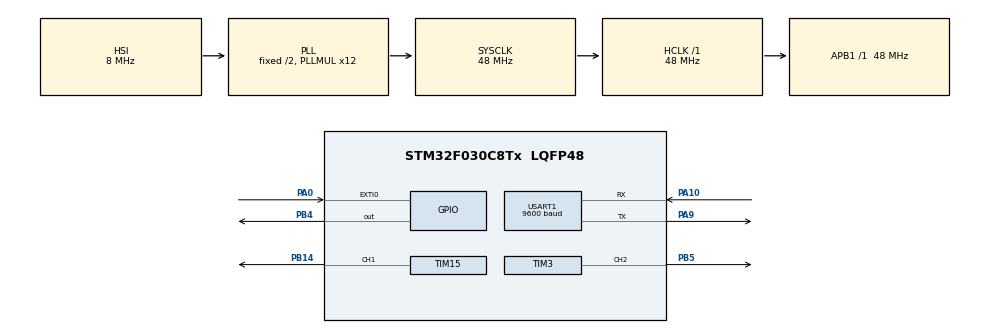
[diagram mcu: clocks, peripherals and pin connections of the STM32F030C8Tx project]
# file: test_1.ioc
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Mcu.Family=STM32F0
Mcu.Name=STM32F030C8Tx
Mcu.Package=LQFP48
NVIC.EXTI0_1_IRQn=true\:0\:0\:false\:false\:true\:true\:true\:true
PA0.GPIO_ModeDefaultEXTI=GPIO_MODE_IT_FALLING
PA0.GPIO_PuPd=GPIO_PULLUP
PA0.Signal=GPXTI0
PA10.Mode=Asynchronous
PA10.Signal=USART1_RX
PA9.Mode=Asynchronous
PA9.Signal=USART1_TX
PB14.Signal=S_TIM15_CH1
PB4.GPIO_ModeDefaultOutputPP=GPIO_MODE_OUTPUT_OD
PB4.GPIO_PuPd=GPIO_NOPULL
PB4.PinState=GPIO_PIN_SET
PB4.Signal=GPIO_Output
PB5.Signal=S_TIM3_CH2
ProjectManager.HeapSize=0x200
ProjectManager.StackSize=0x400
ProjectManager.TargetToolchain=STM32CubeIDE
RCC.AHBFreq_Value=48000000
RCC.APB1Freq_Value=48000000
RCC.APB1TimFreq_Value=48000000
RCC.HCLKFreq_Value=48000000
RCC.PLLMUL=RCC_PLL_MUL12
RCC.SYSCLKFreq_VALUE=48000000
RCC.SYSCLKSource=RCC_SYSCLKSOURCE_PLLCLK
SH.S_TIM15_CH1.0=TIM15_CH1,PWM Generation1 CH1
SH.S_TIM3_CH2.0=TIM3_CH2,PWM Generation2 CH2
TIM15.Channel-PWM\ Generation1\ CH1=TIM_CHANNEL_1
TIM15.Period=99
TIM15.Prescaler=47
TIM15.Pulse-PWM\ Generation1\ CH1=76
TIM3.Channel-PWM\ Generation2\ CH2=TIM_CHANNEL_2
TIM3.Period=99
TIM3.Prescaler=47
TIM3.Pulse-PWM\ Generation2\ CH2=90
TIM6.Prescaler=47
USART1.BaudRate=9600
USART1.VirtualMode-Asynchronous=VM_ASYNC
VP_TIM6_VS_ClockSourceINT.Mode=Enable_Timer
board=custom

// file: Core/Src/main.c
/* USER CODE BEGIN Header */
/**
  ******************************************************************************
  * @file           : main.c
  * @brief          : Main program body
  ******************************************************************************
  */
/* USER CODE END Header */
#include "main.h"

/* USER CODE BEGIN Includes */
#include <stdio.h>
#include <string.h>
/* USER CODE END Includes */

/* USER CODE BEGIN PD */
#define DS18B20_Pin GPIO_PIN_4
#define DS18B20_GPIO_Port GPIOB

#define DS_PORT DS18B20_GPIO_Port
#define DS_PIN  DS18B20_Pin
/* USER CODE END PD */

TIM_HandleTypeDef htim3;
TIM_HandleTypeDef htim6;
TIM_HandleTypeDef htim15;

UART_HandleTypeDef huart1;

/* USER CODE BEGIN PV */
volatile uint8_t system_laeuft = 1;     /* 1 = Motoren an, 0 = Motoren aus */
volatile uint8_t marker_senden = 0;     /* 1 = STOP senden, 2 = START senden */
volatile uint32_t last_interrupt_time = 0;
/* USER CODE END PV */

void SystemClock_Config(void);
static void MX_GPIO_Init(void);
static void MX_TIM3_Init(void);
static void MX_TIM6_Init(void);
static void MX_USART1_UART_Init(void);
static void MX_TIM15_Init(void);

/* USER CODE BEGIN 0 */
void Delay_us(uint16_t us) {
    __HAL_TIM_SET_COUNTER(&htim6, 0);
    while ((uint16_t)__HAL_TIM_GET_COUNTER(&htim6) < us);
}

uint8_t DS18B20_Start(void) {
    uint8_t Response = 0;
    HAL_GPIO_WritePin(DS_PORT, DS_PIN, GPIO_PIN_RESET);
    Delay_us(480);
    HAL_GPIO_WritePin(DS_PORT, DS_PIN, GPIO_PIN_SET);
    Delay_us(80);
    if (!(HAL_GPIO_ReadPin(DS_PORT, DS_PIN))) Response = 1;
    else Response = 0;
    Delay_us(400);
    return Response;
}

void DS18B20_Write(uint8_t data) {
    for (int i=0; i<8; i++) {
        if ((data & (1<<i)) != 0) {
            HAL_GPIO_WritePin(DS_PORT, DS_PIN, GPIO_PIN_RESET);
            Delay_us(1);
            HAL_GPIO_WritePin(DS_PORT, DS_PIN, GPIO_PIN_SET);
            Delay_us(60);
        } else {
            HAL_GPIO_WritePin(DS_PORT, DS_PIN, GPIO_PIN_RESET);
            Delay_us(60);
            HAL_GPIO_WritePin(DS_PORT, DS_PIN, GPIO_PIN_SET);
            Delay_us(1);
        }
    }
}

uint8_t DS18B20_Read(void) {
    uint8_t value = 0;
    for (int i=0; i<8; i++) {
        HAL_GPIO_WritePin(DS_PORT, DS_PIN, GPIO_PIN_RESET);
        Delay_us(2);
        HAL_GPIO_WritePin(DS_PORT, DS_PIN, GPIO_PIN_SET);
        Delay_us(12);
        if (HAL_GPIO_ReadPin(DS_PORT, DS_PIN)) {
            value |= (1<<i);
        }
        Delay_us(50);
    }
    return value;
}
/* USER CODE END 0 */

int main(void)
{

  /* MCU Configuration--------------------------------------------------------*/

  /* Reset of all peripherals, Initializes the Flash interface and the Systick. */
  HAL_Init();

  /* Configure the system clock */
  SystemClock_Config();

  /* Initialize all configured peripherals */
  MX_GPIO_Init();
  MX_TIM3_Init();
  MX_TIM6_Init();
  MX_USART1_UART_Init();
  MX_TIM15_Init();
  /* USER CODE BEGIN 2 */

  /* Start-Nachricht senden */
  char *start_msg = "\r\n--- System gestartet ---\r\n";
  HAL_UART_Transmit(&huart1, (uint8_t*)start_msg, strlen(start_msg), HAL_MAX_DELAY);

  /* Timer und PWM Motoren starten */
  HAL_TIM_Base_Start(&htim6);
  HAL_TIM_PWM_Start(&htim3, TIM_CHANNEL_2);
  HAL_TIM_PWM_Start(&htim15, TIM_CHANNEL_1);

  /* USER CODE END 2 */

  /* Infinite loop */
  /* USER CODE BEGIN WHILE */
  while (1)
  {
      /* === PYTHON MARKER PRÜFEN === */
      if (marker_senden == 1) {
          char *marker = "MARKER: STOP\r\n";
          HAL_UART_Transmit(&huart1, (uint8_t*)marker, strlen(marker), HAL_MAX_DELAY);
          marker_senden = 0;
      } else if (marker_senden == 2) {
          char *marker = "MARKER: START\r\n";
          HAL_UART_Transmit(&huart1, (uint8_t*)marker, strlen(marker), HAL_MAX_DELAY);
          marker_senden = 0;
      }

      /* === TEMPERATUR MESSEN === */
      uint8_t presence = DS18B20_Start();
      HAL_Delay(1);

      if (presence) {
          DS18B20_Write(0xCC);
          DS18B20_Write(0x44);
          HAL_Delay(800);

          presence = DS18B20_Start();
          HAL_Delay(1);
          DS18B20_Write(0xCC);
          DS18B20_Write(0xBE);

          uint8_t temp_LSB = DS18B20_Read();
          uint8_t temp_MSB = DS18B20_Read();

          uint16_t temp = (temp_MSB << 8) | temp_LSB;
          int8_t sign = 1;
          if (temp > 2047) {
             temp = (~temp) + 1;
             sign = -1;
          }

          int temp_int = temp / 16;
          int temp_frac = (temp % 16) * 625;

          char buffer[60];
          if (sign < 0) {
             sprintf(buffer, "Bier-Temperatur: -%d.%04d C\r\n", temp_int, temp_frac);
          } else {
             sprintf(buffer, "Bier-Temperatur: %d.%04d C\r\n", temp_int, temp_frac);
          }

          HAL_UART_Transmit(&huart1, (uint8_t*)buffer, strlen(buffer), HAL_MAX_DELAY);
      } else {
          char *err = "Fehler: Kein Sensor gefunden!\r\n";
          HAL_UART_Transmit(&huart1, (uint8_t*)err, strlen(err), HAL_MAX_DELAY);
      }

      HAL_Delay(2000);
    /* USER CODE END WHILE */

  }
}

void SystemClock_Config(void)
{
  RCC_OscInitTypeDef RCC_OscInitStruct = {0};
  RCC_ClkInitTypeDef RCC_ClkInitStruct = {0};
  RCC_PeriphCLKInitTypeDef PeriphClkInit = {0};

  /** Initializes the RCC Oscillators according to the specified parameters
  * in the RCC_OscInitTypeDef structure.
  */
  RCC_OscInitStruct.OscillatorType = RCC_OSCILLATORTYPE_HSI;
  RCC_OscInitStruct.HSIState = RCC_HSI_ON;
  RCC_OscInitStruct.HSICalibrationValue = RCC_HSICALIBRATION_DEFAULT;
  RCC_OscInitStruct.PLL.PLLState = RCC_PLL_ON;
  RCC_OscInitStruct.PLL.PLLSource = RCC_PLLSOURCE_HSI;
  RCC_OscInitStruct.PLL.PLLMUL = RCC_PLL_MUL12;
  RCC_OscInitStruct.PLL.PREDIV = RCC_PREDIV_DIV1;
  if (HAL_RCC_OscConfig(&RCC_OscInitStruct) != HAL_OK)
  {
    Error_Handler();
  }

  /** Initializes the CPU, AHB and APB buses clocks
  */
  RCC_ClkInitStruct.ClockType = RCC_CLOCKTYPE_HCLK|RCC_CLOCKTYPE_SYSCLK
                              |RCC_CLOCKTYPE_PCLK1;
  RCC_ClkInitStruct.SYSCLKSource = RCC_SYSCLKSOURCE_PLLCLK;
  RCC_ClkInitStruct.AHBCLKDivider = RCC_SYSCLK_DIV1;
  RCC_ClkInitStruct.APB1CLKDivider = RCC_HCLK_DIV1;

  if (HAL_RCC_ClockConfig(&RCC_ClkInitStruct, FLASH_LATENCY_1) != HAL_OK)
  {
    Error_Handler();
  }
  PeriphClkInit.PeriphClockSelection = RCC_PERIPHCLK_USART1;
  PeriphClkInit.Usart1ClockSelection = RCC_USART1CLKSOURCE_PCLK1;
  if (HAL_RCCEx_PeriphCLKConfig(&PeriphClkInit) != HAL_OK)
  {
    Error_Handler();
  }
}

static void MX_TIM3_Init(void)
{

  TIM_MasterConfigTypeDef sMasterConfig = {0};
  TIM_OC_InitTypeDef sConfigOC = {0};

  htim3.Instance = TIM3;
  htim3.Init.Prescaler = 47;
  htim3.Init.CounterMode = TIM_COUNTERMODE_UP;
  htim3.Init.Period = 99;
  htim3.Init.ClockDivision = TIM_CLOCKDIVISION_DIV1;
  htim3.Init.AutoReloadPreload = TIM_AUTORELOAD_PRELOAD_DISABLE;
  if (HAL_TIM_PWM_Init(&htim3) != HAL_OK)
  {
    Error_Handler();
  }
  sMasterConfig.MasterOutputTrigger = TIM_TRGO_RESET;
  sMasterConfig.MasterSlaveMode = TIM_MASTERSLAVEMODE_DISABLE;
  if (HAL_TIMEx_MasterConfigSynchronization(&htim3, &sMasterConfig) != HAL_OK)
  {
    Error_Handler();
  }
  sConfigOC.OCMode = TIM_OCMODE_PWM1;
  sConfigOC.Pulse = 90;
  sConfigOC.OCPolarity = TIM_OCPOLARITY_HIGH;
  sConfigOC.OCFastMode = TIM_OCFAST_DISABLE;
  if (HAL_TIM_PWM_ConfigChannel(&htim3, &sConfigOC, TIM_CHANNEL_2) != HAL_OK)
  {
    Error_Handler();
  }
  HAL_TIM_MspPostInit(&htim3);

}

static void MX_TIM6_Init(void)
{

  htim6.Instance = TIM6;
  htim6.Init.Prescaler = 47;
  htim6.Init.CounterMode = TIM_COUNTERMODE_UP;
  htim6.Init.Period = 65535;
  htim6.Init.AutoReloadPreload = TIM_AUTORELOAD_PRELOAD_DISABLE;
  if (HAL_TIM_Base_Init(&htim6) != HAL_OK)
  {
    Error_Handler();
  }

}

static void MX_TIM15_Init(void)
{

  TIM_MasterConfigTypeDef sMasterConfig = {0};
  TIM_OC_InitTypeDef sConfigOC = {0};
  TIM_BreakDeadTimeConfigTypeDef sBreakDeadTimeConfig = {0};

  htim15.Instance = TIM15;
  htim15.Init.Prescaler = 47;
  htim15.Init.CounterMode = TIM_COUNTERMODE_UP;
  htim15.Init.Period = 99;
  htim15.Init.ClockDivision = TIM_CLOCKDIVISION_DIV1;
  htim15.Init.RepetitionCounter = 0;
  htim15.Init.AutoReloadPreload = TIM_AUTORELOAD_PRELOAD_DISABLE;
  if (HAL_TIM_PWM_Init(&htim15) != HAL_OK)
  {
    Error_Handler();
  }
  sMasterConfig.MasterOutputTrigger = TIM_TRGO_RESET;
  sMasterConfig.MasterSlaveMode = TIM_MASTERSLAVEMODE_DISABLE;
  if (HAL_TIMEx_MasterConfigSynchronization(&htim15, &sMasterConfig) != HAL_OK)
  {
    Error_Handler();
  }
  sConfigOC.OCMode = TIM_OCMODE_PWM1;
  sConfigOC.Pulse = 76;
  sConfigOC.OCPolarity = TIM_OCPOLARITY_HIGH;
  sConfigOC.OCNPolarity = TIM_OCNPOLARITY_HIGH;
  sConfigOC.OCFastMode = TIM_OCFAST_DISABLE;
  sConfigOC.OCIdleState = TIM_OCIDLESTATE_RESET;
  sConfigOC.OCNIdleState = TIM_OCNIDLESTATE_RESET;
  if (HAL_TIM_PWM_ConfigChannel(&htim15, &sConfigOC, TIM_CHANNEL_1) != HAL_OK)
  {
    Error_Handler();
  }
  sBreakDeadTimeConfig.OffStateRunMode = TIM_OSSR_DISABLE;
  sBreakDeadTimeConfig.OffStateIDLEMode = TIM_OSSI_DISABLE;
  sBreakDeadTimeConfig.LockLevel = TIM_LOCKLEVEL_OFF;
  sBreakDeadTimeConfig.DeadTime = 0;
  sBreakDeadTimeConfig.BreakState = TIM_BREAK_DISABLE;
  sBreakDeadTimeConfig.BreakPolarity = TIM_BREAKPOLARITY_HIGH;
  sBreakDeadTimeConfig.AutomaticOutput = TIM_AUTOMATICOUTPUT_DISABLE;
  if (HAL_TIMEx_ConfigBreakDeadTime(&htim15, &sBreakDeadTimeConfig) != HAL_OK)
  {
    Error_Handler();
  }
  HAL_TIM_MspPostInit(&htim15);

}

static void MX_USART1_UART_Init(void)
{

  huart1.Instance = USART1;
  huart1.Init.BaudRate = 9600;
  huart1.Init.WordLength = UART_WORDLENGTH_8B;
  huart1.Init.StopBits = UART_STOPBITS_1;
  huart1.Init.Parity = UART_PARITY_NONE;
  huart1.Init.Mode = UART_MODE_TX_RX;
  huart1.Init.HwFlowCtl = UART_HWCONTROL_NONE;
  huart1.Init.OverSampling = UART_OVERSAMPLING_16;
  huart1.Init.OneBitSampling = UART_ONE_BIT_SAMPLE_DISABLE;
  huart1.AdvancedInit.AdvFeatureInit = UART_ADVFEATURE_NO_INIT;
  if (HAL_UART_Init(&huart1) != HAL_OK)
  {
    Error_Handler();
  }

}

static void MX_GPIO_Init(void)
{
  GPIO_InitTypeDef GPIO_InitStruct = {0};

  /* GPIO Ports Clock Enable */
  __HAL_RCC_GPIOA_CLK_ENABLE();
  __HAL_RCC_GPIOB_CLK_ENABLE();

  /*Configure GPIO pin Output Level */
  HAL_GPIO_WritePin(GPIOB, GPIO_PIN_4, GPIO_PIN_SET);

  /*Configure GPIO pin : PA0 */
  GPIO_InitStruct.Pin = GPIO_PIN_0;
  GPIO_InitStruct.Mode = GPIO_MODE_IT_FALLING;
  GPIO_InitStruct.Pull = GPIO_PULLUP;
  HAL_GPIO_Init(GPIOA, &GPIO_InitStruct);

  /*Configure GPIO pin : PB4 */
  GPIO_InitStruct.Pin = GPIO_PIN_4;
  GPIO_InitStruct.Mode = GPIO_MODE_OUTPUT_OD;
  GPIO_InitStruct.Pull = GPIO_NOPULL;
  GPIO_InitStruct.Speed = GPIO_SPEED_FREQ_LOW;
  HAL_GPIO_Init(GPIOB, &GPIO_InitStruct);

  /* EXTI interrupt init*/
  HAL_NVIC_SetPriority(EXTI0_1_IRQn, 0, 0);
  HAL_NVIC_EnableIRQ(EXTI0_1_IRQn);

}

/* USER CODE BEGIN 4 */
void HAL_GPIO_EXTI_Callback(uint16_t GPIO_Pin) {
    if (GPIO_Pin == GPIO_PIN_0) {
        if (HAL_GetTick() - last_interrupt_time > 200) {
            if (system_laeuft == 1) {
                HAL_TIM_PWM_Stop(&htim3, TIM_CHANNEL_2);
                HAL_TIM_PWM_Stop(&htim15, TIM_CHANNEL_1);
                system_laeuft = 0;
                marker_senden = 1;
            } else {
                HAL_TIM_PWM_Start(&htim3, TIM_CHANNEL_2);
                HAL_TIM_PWM_Start(&htim15, TIM_CHANNEL_1);
                system_laeuft = 1;
                marker_senden = 2;
            }
            last_interrupt_time = HAL_GetTick();
        }
    }
}
/* USER CODE END 4 */

void Error_Handler(void)
{
  __disable_irq();
  while (1)
  {
  }
}
